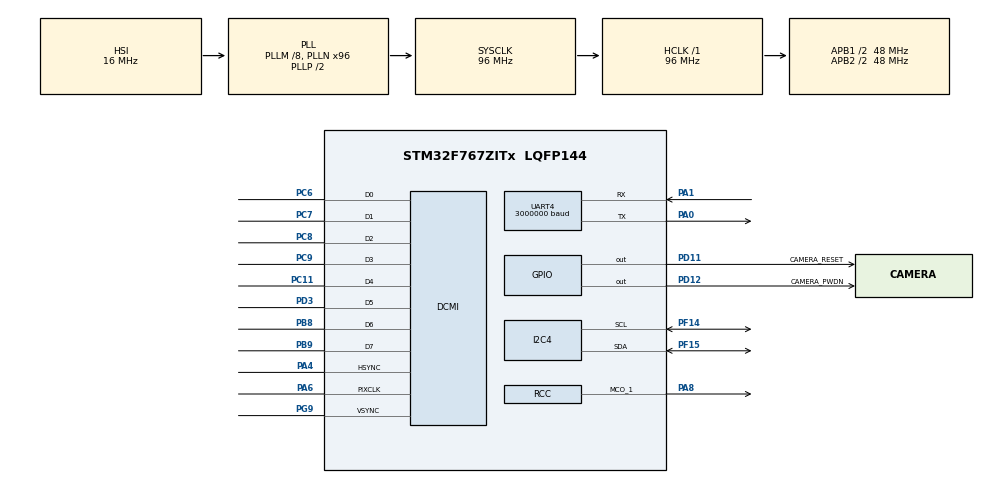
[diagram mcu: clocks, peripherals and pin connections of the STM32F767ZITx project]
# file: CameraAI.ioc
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DCMI.HSPolarity=DCMI_HSPOLARITY_LOW
DCMI.PCKPolarity=DCMI_PCKPOLARITY_RISING
DCMI.VSPolarity=DCMI_VSPOLARITY_HIGH
Dma.DCMI.0.Direction=DMA_PERIPH_TO_MEMORY
Dma.DCMI.0.FIFOMode=DMA_FIFOMODE_DISABLE
Dma.DCMI.0.Instance=DMA2_Stream1
Dma.DCMI.0.MemDataAlignment=DMA_MDATAALIGN_WORD
Dma.DCMI.0.MemInc=DMA_MINC_ENABLE
Dma.DCMI.0.Mode=DMA_NORMAL
Dma.DCMI.0.PeriphDataAlignment=DMA_PDATAALIGN_WORD
Dma.DCMI.0.PeriphInc=DMA_PINC_DISABLE
Dma.DCMI.0.Priority=DMA_PRIORITY_LOW
Dma.Request0=DCMI
I2C4.Timing=0x20303E5D
Mcu.Family=STM32F7
Mcu.Name=STM32F767ZITx
Mcu.Package=LQFP144
NVIC.DCMI_IRQn=true\:0\:0\:false\:false\:true\:true\:true\:true
NVIC.DMA2_Stream1_IRQn=true\:0\:0\:false\:false\:true\:false\:true\:true
NVIC.PriorityGroup=NVIC_PRIORITYGROUP_4
PA0/WKUP.Mode=Asynchronous
PA0/WKUP.Signal=UART4_TX
PA1.Mode=Asynchronous
PA1.Signal=UART4_RX
PA13.Mode=Serial_Wire
PA13.Signal=SYS_JTMS-SWDIO
PA14.Mode=Serial_Wire
PA14.Signal=SYS_JTCK-SWCLK
PA4.GPIO_PuPd=GPIO_PULLDOWN
PA4.GPIO_Speed=GPIO_SPEED_FREQ_VERY_HIGH
PA4.Mode=Slave_8_bits_External_Synchro
PA4.Signal=DCMI_HSYNC
PA6.GPIO_PuPd=GPIO_PULLDOWN
PA6.GPIO_Speed=GPIO_SPEED_FREQ_VERY_HIGH
PA6.Mode=Slave_8_bits_External_Synchro
PA6.Signal=DCMI_PIXCLK
PA8.GPIO_Speed=GPIO_SPEED_FREQ_VERY_HIGH
PA8.Mode=Clock-out-1
PA8.Signal=RCC_MCO_1
PB8.GPIO_PuPd=GPIO_PULLDOWN
PB8.GPIO_Speed=GPIO_SPEED_FREQ_VERY_HIGH
PB8.Mode=Slave_8_bits_External_Synchro
PB8.Signal=DCMI_D6
PB9.GPIO_PuPd=GPIO_PULLDOWN
PB9.GPIO_Speed=GPIO_SPEED_FREQ_VERY_HIGH
PB9.Mode=Slave_8_bits_External_Synchro
PB9.Signal=DCMI_D7
PC11.GPIO_PuPd=GPIO_PULLDOWN
PC11.GPIO_Speed=GPIO_SPEED_FREQ_VERY_HIGH
PC11.Mode=Slave_8_bits_External_Synchro
PC11.Signal=DCMI_D4
PC6.GPIO_PuPd=GPIO_PULLDOWN
PC6.GPIO_Speed=GPIO_SPEED_FREQ_VERY_HIGH
PC6.Mode=Slave_8_bits_External_Synchro
PC6.Signal=DCMI_D0
PC7.GPIO_PuPd=GPIO_PULLDOWN
PC7.GPIO_Speed=GPIO_SPEED_FREQ_VERY_HIGH
PC7.Mode=Slave_8_bits_External_Synchro
PC7.Signal=DCMI_D1
PC8.GPIO_PuPd=GPIO_PULLDOWN
PC8.GPIO_Speed=GPIO_SPEED_FREQ_VERY_HIGH
PC8.Mode=Slave_8_bits_External_Synchro
PC8.Signal=DCMI_D2
PC9.GPIO_PuPd=GPIO_PULLDOWN
PC9.GPIO_Speed=GPIO_SPEED_FREQ_VERY_HIGH
PC9.Mode=Slave_8_bits_External_Synchro
PC9.Signal=DCMI_D3
PD11.GPIO_Label=CAMERA_RESET
PD11.Signal=GPIO_Output
PD12.GPIO_Label=CAMERA_PWDN
PD12.Signal=GPIO_Output
PD3.GPIO_PuPd=GPIO_PULLDOWN
PD3.GPIO_Speed=GPIO_SPEED_FREQ_VERY_HIGH
PD3.Mode=Slave_8_bits_External_Synchro
PD3.Signal=DCMI_D5
PF14.GPIO_Pu=GPIO_PULLUP
PF14.Mode=I2C
PF14.Signal=I2C4_SCL
PF15.GPIO_Pu=GPIO_PULLUP
PF15.Mode=I2C
PF15.Signal=I2C4_SDA
PG9.GPIO_PuPd=GPIO_PULLDOWN
PG9.GPIO_Speed=GPIO_SPEED_FREQ_VERY_HIGH
PG9.Mode=Slave_8_bits_External_Synchro
PG9.Signal=DCMI_VSYNC
ProjectManager.HeapSize=0x200
ProjectManager.StackSize=0x400
ProjectManager.TargetToolchain=STM32CubeIDE
RCC.AHBFreq_Value=96000000
RCC.APB1CLKDivider=RCC_HCLK_DIV2
RCC.APB1Freq_Value=48000000
RCC.APB1TimFreq_Value=96000000
RCC.APB2CLKDivider=RCC_HCLK_DIV2
RCC.APB2Freq_Value=48000000
RCC.APB2TimFreq_Value=96000000
RCC.CortexFreq_Value=96000000
RCC.HCLKFreq_Value=96000000
RCC.HSE_VALUE=8000000
RCC.HSI_VALUE=16000000
RCC.LSE_VALUE=32768
RCC.PLLM=8
RCC.PLLN=96
RCC.RCC_MCO1Source=RCC_MCO1SOURCE_PLLCLK
RCC.RCC_MCODiv1=RCC_MCODIV_4
RCC.SYSCLKFreq_VALUE=96000000
RCC.SYSCLKSource=RCC_SYSCLKSOURCE_PLLCLK
RCC.USBFreq_Value=96000000
RCC.VCOOutputFreq_Value=192000000
UART4.BaudRate=3000000
board=custom

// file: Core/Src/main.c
/* USER CODE BEGIN Header */
/**
  ******************************************************************************
  * @file           : main.c
  * @brief          : Main program body
  ******************************************************************************
  * @attention
  *
  * Copyright (c) 2024 STMicroelectronics.
  * All rights reserved.
  *
  * This software is licensed under terms that can be found in the LICENSE file
  * in the root directory of this software component.
  * If no LICENSE file comes with this software, it is provided AS-IS.
  *
  ******************************************************************************
  */
/* USER CODE END Header */
#include "main.h"

/* USER CODE BEGIN Includes */
#include "common.h"
#include "ov7670.h"
#include "putty.h"

/* USER CODE END Includes */

DCMI_HandleTypeDef hdcmi;
DMA_HandleTypeDef hdma_dcmi;

I2C_HandleTypeDef hi2c4;

UART_HandleTypeDef huart4;

void SystemClock_Config(void);
static void MX_GPIO_Init(void);
static void MX_DMA_Init(void);
static void MX_DCMI_Init(void);
static void MX_UART4_Init(void);
static void MX_I2C4_Init(void);

/* USER CODE BEGIN 0 */
uint32_t image[OV7670_WIDTH * OV7670_HEIGHT];
/* USER CODE END 0 */

int main(void)
{

  /* MCU Configuration--------------------------------------------------------*/

  /* Reset of all peripherals, Initializes the Flash interface and the Systick. */
  HAL_Init();

  /* Configure the system clock */
  SystemClock_Config();

  /* Initialize all configured peripherals */
  MX_GPIO_Init();
  MX_DMA_Init();
  MX_DCMI_Init();
  MX_UART4_Init();
  MX_I2C4_Init();
  /* USER CODE BEGIN 2 */
  init_putty(&huart4);

//  uint16_t * image = (uint16_t *) malloc(OV7670_WIDTH*OV7670_HEIGHT);
//  for(int i = 0; i < OV7670_WIDTH*OV7670_HEIGHT; i++){
//	  image[i] = 0;
//  }
  /* Camera Setup*/
  ov7670_init(&hdcmi, &hdma_dcmi, &hi2c4, image);
  ov7670_config();

  uint8_t rxBuff[2];
  uint8_t txBuff[16];
  HAL_GPIO_WritePin(CAMERA_PWDN_GPIO_Port, CAMERA_PWDN_Pin, RESET);

  /* USER CODE END 2 */

  /* Infinite loop */
  /* USER CODE BEGIN WHILE */

  while (1)
  {
	  rxBuff[0] = 0xFF;	//Set to invalid number
	  terminal_recieve(rxBuff, 2);
	  if(rxBuff[0] == 0x00 || rxBuff[0] == 0x01){;
		  ov7670_snapshot(rxBuff[0]);
		  //HAL_Delay(1000);
	  }
	  else{
		 snprintf((char *)txBuff, sizeof(txBuff), "S Fail\n");
		 print_mod(txBuff, sizeof(txBuff));
	  }
    /* USER CODE END WHILE */

  }
}

void SystemClock_Config(void)
{
  RCC_OscInitTypeDef RCC_OscInitStruct = {0};
  RCC_ClkInitTypeDef RCC_ClkInitStruct = {0};

  /** Configure the main internal regulator output voltage
  */
  __HAL_RCC_PWR_CLK_ENABLE();
  __HAL_PWR_VOLTAGESCALING_CONFIG(PWR_REGULATOR_VOLTAGE_SCALE3);

  /** Initializes the RCC Oscillators according to the specified parameters
  * in the RCC_OscInitTypeDef structure.
  */
  RCC_OscInitStruct.OscillatorType = RCC_OSCILLATORTYPE_HSI;
  RCC_OscInitStruct.HSIState = RCC_HSI_ON;
  RCC_OscInitStruct.HSICalibrationValue = RCC_HSICALIBRATION_DEFAULT;
  RCC_OscInitStruct.PLL.PLLState = RCC_PLL_ON;
  RCC_OscInitStruct.PLL.PLLSource = RCC_PLLSOURCE_HSI;
  RCC_OscInitStruct.PLL.PLLM = 8;
  RCC_OscInitStruct.PLL.PLLN = 96;
  RCC_OscInitStruct.PLL.PLLP = RCC_PLLP_DIV2;
  RCC_OscInitStruct.PLL.PLLQ = 2;
  RCC_OscInitStruct.PLL.PLLR = 2;
  if (HAL_RCC_OscConfig(&RCC_OscInitStruct) != HAL_OK)
  {
    Error_Handler();
  }

  /** Activate the Over-Drive mode
  */
  if (HAL_PWREx_EnableOverDrive() != HAL_OK)
  {
    Error_Handler();
  }

  /** Initializes the CPU, AHB and APB buses clocks
  */
  RCC_ClkInitStruct.ClockType = RCC_CLOCKTYPE_HCLK|RCC_CLOCKTYPE_SYSCLK
                              |RCC_CLOCKTYPE_PCLK1|RCC_CLOCKTYPE_PCLK2;
  RCC_ClkInitStruct.SYSCLKSource = RCC_SYSCLKSOURCE_PLLCLK;
  RCC_ClkInitStruct.AHBCLKDivider = RCC_SYSCLK_DIV1;
  RCC_ClkInitStruct.APB1CLKDivider = RCC_HCLK_DIV2;
  RCC_ClkInitStruct.APB2CLKDivider = RCC_HCLK_DIV2;

  if (HAL_RCC_ClockConfig(&RCC_ClkInitStruct, FLASH_LATENCY_3) != HAL_OK)
  {
    Error_Handler();
  }
  HAL_RCC_MCOConfig(RCC_MCO1, RCC_MCO1SOURCE_PLLCLK, RCC_MCODIV_4);
}

static void MX_DCMI_Init(void)
{

  hdcmi.Instance = DCMI;
  hdcmi.Init.SynchroMode = DCMI_SYNCHRO_HARDWARE;
  hdcmi.Init.PCKPolarity = DCMI_PCKPOLARITY_RISING;
  hdcmi.Init.VSPolarity = DCMI_VSPOLARITY_HIGH;
  hdcmi.Init.HSPolarity = DCMI_HSPOLARITY_LOW;
  hdcmi.Init.CaptureRate = DCMI_CR_ALL_FRAME;
  hdcmi.Init.ExtendedDataMode = DCMI_EXTEND_DATA_8B;
  hdcmi.Init.JPEGMode = DCMI_JPEG_DISABLE;
  hdcmi.Init.ByteSelectMode = DCMI_BSM_ALL;
  hdcmi.Init.ByteSelectStart = DCMI_OEBS_ODD;
  hdcmi.Init.LineSelectMode = DCMI_LSM_ALL;
  hdcmi.Init.LineSelectStart = DCMI_OELS_ODD;
  if (HAL_DCMI_Init(&hdcmi) != HAL_OK)
  {
    Error_Handler();
  }

}

static void MX_I2C4_Init(void)
{

  hi2c4.Instance = I2C4;
  hi2c4.Init.Timing = 0x20303E5D;
  hi2c4.Init.OwnAddress1 = 0;
  hi2c4.Init.AddressingMode = I2C_ADDRESSINGMODE_7BIT;
  hi2c4.Init.DualAddressMode = I2C_DUALADDRESS_DISABLE;
  hi2c4.Init.OwnAddress2 = 0;
  hi2c4.Init.OwnAddress2Masks = I2C_OA2_NOMASK;
  hi2c4.Init.GeneralCallMode = I2C_GENERALCALL_DISABLE;
  hi2c4.Init.NoStretchMode = I2C_NOSTRETCH_DISABLE;
  if (HAL_I2C_Init(&hi2c4) != HAL_OK)
  {
    Error_Handler();
  }

  /** Configure Analogue filter
  */
  if (HAL_I2CEx_ConfigAnalogFilter(&hi2c4, I2C_ANALOGFILTER_ENABLE) != HAL_OK)
  {
    Error_Handler();
  }

  /** Configure Digital filter
  */
  if (HAL_I2CEx_ConfigDigitalFilter(&hi2c4, 0) != HAL_OK)
  {
    Error_Handler();
  }

}

static void MX_UART4_Init(void)
{

  huart4.Instance = UART4;
  huart4.Init.BaudRate = 3000000;
  huart4.Init.WordLength = UART_WORDLENGTH_8B;
  huart4.Init.StopBits = UART_STOPBITS_1;
  huart4.Init.Parity = UART_PARITY_NONE;
  huart4.Init.Mode = UART_MODE_TX_RX;
  huart4.Init.HwFlowCtl = UART_HWCONTROL_NONE;
  huart4.Init.OverSampling = UART_OVERSAMPLING_16;
  huart4.Init.OneBitSampling = UART_ONE_BIT_SAMPLE_DISABLE;
  huart4.AdvancedInit.AdvFeatureInit = UART_ADVFEATURE_NO_INIT;
  if (HAL_UART_Init(&huart4) != HAL_OK)
  {
    Error_Handler();
  }

}

static void MX_DMA_Init(void)
{

  /* DMA controller clock enable */
  __HAL_RCC_DMA2_CLK_ENABLE();

  /* DMA interrupt init */
  /* DMA2_Stream1_IRQn interrupt configuration */
  HAL_NVIC_SetPriority(DMA2_Stream1_IRQn, 0, 0);
  HAL_NVIC_EnableIRQ(DMA2_Stream1_IRQn);

}

static void MX_GPIO_Init(void)
{
  GPIO_InitTypeDef GPIO_InitStruct = {0};

  /* GPIO Ports Clock Enable */
  __HAL_RCC_GPIOA_CLK_ENABLE();
  __HAL_RCC_GPIOF_CLK_ENABLE();
  __HAL_RCC_GPIOD_CLK_ENABLE();
  __HAL_RCC_GPIOC_CLK_ENABLE();
  __HAL_RCC_GPIOG_CLK_ENABLE();
  __HAL_RCC_GPIOB_CLK_ENABLE();

  /*Configure GPIO pin Output Level */
  HAL_GPIO_WritePin(GPIOD, CAMERA_RESET_Pin|CAMERA_PWDN_Pin, GPIO_PIN_RESET);

  /*Configure GPIO pins : CAMERA_RESET_Pin CAMERA_PWDN_Pin */
  GPIO_InitStruct.Pin = CAMERA_RESET_Pin|CAMERA_PWDN_Pin;
  GPIO_InitStruct.Mode = GPIO_MODE_OUTPUT_PP;
  GPIO_InitStruct.Pull = GPIO_NOPULL;
  GPIO_InitStruct.Speed = GPIO_SPEED_FREQ_LOW;
  HAL_GPIO_Init(GPIOD, &GPIO_InitStruct);

  /*Configure GPIO pin : PA8 */
  GPIO_InitStruct.Pin = GPIO_PIN_8;
  GPIO_InitStruct.Mode = GPIO_MODE_AF_PP;
  GPIO_InitStruct.Pull = GPIO_NOPULL;
  GPIO_InitStruct.Speed = GPIO_SPEED_FREQ_VERY_HIGH;
  GPIO_InitStruct.Alternate = GPIO_AF0_MCO;
  HAL_GPIO_Init(GPIOA, &GPIO_InitStruct);

}

void Error_Handler(void)
{
  __disable_irq();
  while (1)
  {
  }
}
